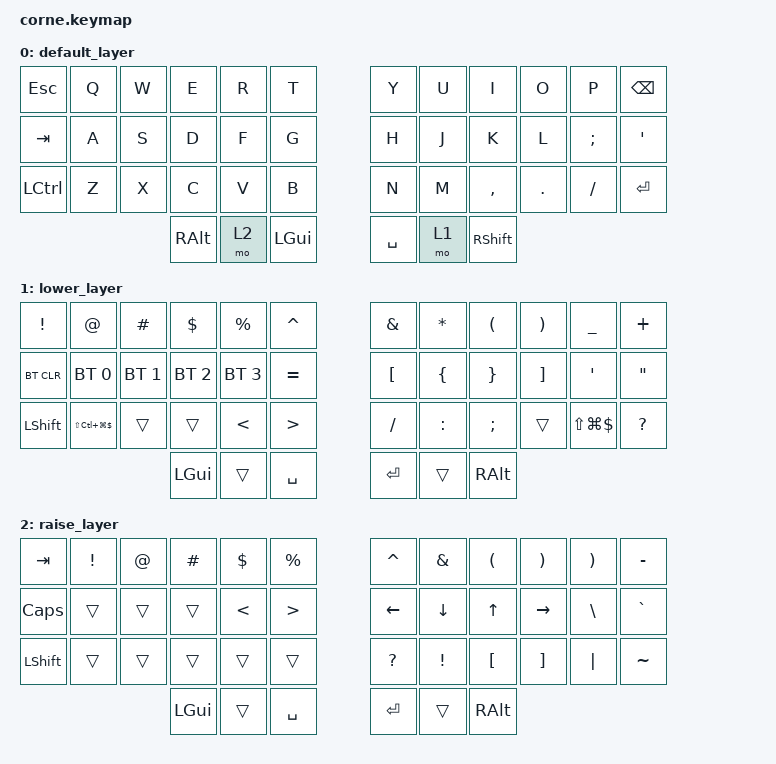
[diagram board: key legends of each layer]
/*
 * Copyright (c) 2020 The ZMK Contributors
 *
 * SPDX-License-Identifier: MIT
 */

#include <behaviors.dtsi>
#include <dt-bindings/zmk/bt.h>
#include <dt-bindings/zmk/keys.h>

/ {
    keymap {
        compatible = "zmk,keymap";

        default_layer {
            // -----------------------------------------------------------------------------------------
            // |  TAB |  Q  |  W  |  E  |  R  |  T  |   |  Y  |  U   |  I  |  O  |  P  | BKSP |
            // | CTRL |  A  |  S  |  D  |  F  |  G  |   |  H  |  J   |  K  |  L  |  ;  |  '   |
            // | SHFT |  Z  |  X  |  C  |  V  |  B  |   |  N  |  M   |  ,  |  .  |  /  | ESC  |
            //                    | GUI | LWR | SPC |   | ENT | RSE  | ALT |

            bindings = <
&kp ESCAPE  &kp Q  &kp W  &kp E     &kp R  &kp T       &kp Y      &kp U  &kp I            &kp O    &kp P     &kp BSPC
&kp TAB     &kp A  &kp S  &kp D     &kp F  &kp G       &kp H      &kp J  &kp K            &kp L    &kp SEMI  &kp SQT
&kp LCTRL   &kp Z  &kp X  &kp C     &kp V  &kp B       &kp N      &kp M  &kp COMMA        &kp DOT  &kp FSLH  &kp ENTER
                          &kp RALT  &mo 2  &kp LGUI    &kp SPACE  &mo 1  &kp RIGHT_SHIFT
            >;
        };

        lower_layer {
            // -----------------------------------------------------------------------------------------
            // |  TAB |  1  |  2  |  3  |  4  |  5  |   |  6  |  7  |  8  |  9  |  0  | BKSP |
            // | BTCLR| BT1 | BT2 | BT3 | BT4 | BT5 |   | LFT | DWN |  UP | RGT |     |      |
            // | SHFT |     |     |     |     |     |   |     |     |     |     |     |      |
            //                    | GUI |     | SPC |   | ENT |     | ALT |

            bindings = <
&kp EXCLAMATION  &kp AT_SIGN             &kp HASH      &kp DOLLAR    &kp PERCENT    &kp CARET           &kp AMPERSAND     &kp ASTERISK    &kp LEFT_PARENTHESIS  &kp RIGHT_PARENTHESIS  &kp UNDERSCORE      &kp PLUS
&bt BT_CLR       &bt BT_SEL 0            &bt BT_SEL 1  &bt BT_SEL 2  &bt BT_SEL 3   &kp EQUAL           &kp LEFT_BRACKET  &kp LEFT_BRACE  &kp RIGHT_BRACE       &kp RIGHT_BRACKET      &kp SINGLE_QUOTE    &kp DOUBLE_QUOTES
&kp LSHFT        &kp LS(LC(LG(DOLLAR)))  &trans        &trans        &kp LESS_THAN  &kp GREATER_THAN    &kp SLASH         &kp COLON       &kp SEMICOLON         &trans                 &kp LS(LG(DOLLAR))  &kp QUESTION
                                                       &kp LGUI      &trans         &kp SPACE           &kp RET           &trans          &kp RALT
            >;
        };

        raise_layer {
            // -----------------------------------------------------------------------------------------
            // |  TAB |  !  |  @  |  #  |  $  |  %  |   |  ^  |  &  |  *  |  (  |  )  | BKSP |
            // | CTRL |     |     |     |     |     |   |  -  |  =  |  [  |  ]  |  \  |  `   |
            // | SHFT |     |     |     |     |     |   |  _  |  +  |  {  |  }  | "|" |  ~   |
            //                    | GUI |     | SPC |   | ENT |     | ALT |

            bindings = <
&kp TAB    &kp EXCL  &kp AT  &kp HASH  &kp DLLR       &kp PRCNT           &kp CARET     &kp AMPS         &kp LEFT_PARENTHESIS  &kp RIGHT_PARENTHESIS  &kp RPAR  &kp MINUS
&kp CAPS   &trans    &trans  &trans    &kp LESS_THAN  &kp GREATER_THAN    &kp LEFT      &kp DOWN         &kp UP_ARROW          &kp RIGHT              &kp BSLH  &kp GRAVE
&kp LSHFT  &trans    &trans  &trans    &trans         &trans              &kp QUESTION  &kp EXCLAMATION  &kp LEFT_BRACKET      &kp RIGHT_BRACKET      &kp PIPE  &kp TILDE
                             &kp LGUI  &trans         &kp SPACE           &kp RET       &trans           &kp RALT
            >;
        };
    };
};
